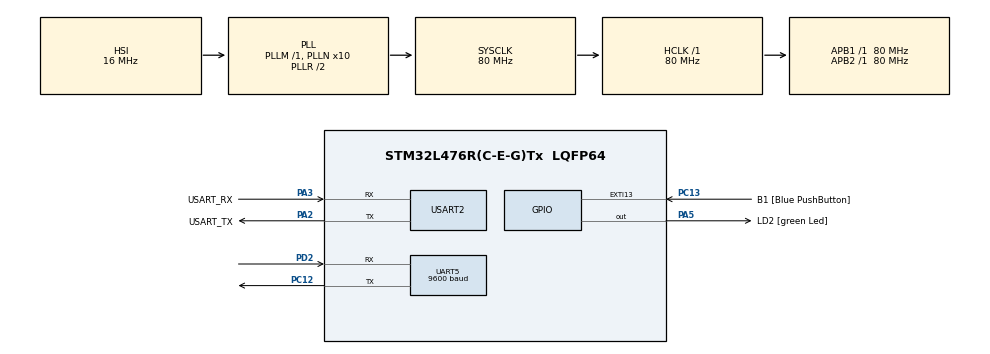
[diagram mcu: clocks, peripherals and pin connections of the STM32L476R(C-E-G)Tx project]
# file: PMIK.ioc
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Dma.Request0=UART5_RX
Dma.UART5_RX.0.Direction=DMA_PERIPH_TO_MEMORY
Dma.UART5_RX.0.Instance=DMA2_Channel2
Dma.UART5_RX.0.MemDataAlignment=DMA_MDATAALIGN_BYTE
Dma.UART5_RX.0.MemInc=DMA_MINC_ENABLE
Dma.UART5_RX.0.Mode=DMA_NORMAL
Dma.UART5_RX.0.PeriphDataAlignment=DMA_PDATAALIGN_BYTE
Dma.UART5_RX.0.PeriphInc=DMA_PINC_DISABLE
Dma.UART5_RX.0.Priority=DMA_PRIORITY_LOW
Mcu.Family=STM32L4
Mcu.Name=STM32L476R(C-E-G)Tx
Mcu.Package=LQFP64
NVIC.DMA2_Channel2_IRQn=true\:0\:0\:false\:false\:true\:false\:true\:true
NVIC.EXTI15_10_IRQn=true\:0\:0\:false\:false\:true\:true\:true\:true
NVIC.PriorityGroup=NVIC_PRIORITYGROUP_4
NVIC.TIM2_IRQn=true\:0\:0\:false\:false\:true\:true\:true\:true
NVIC.UART5_IRQn=true\:0\:0\:false\:false\:true\:true\:true\:true
NVIC.USART2_IRQn=true\:0\:0\:false\:false\:true\:true\:true\:true
PA13\ (JTMS-SWDIO).GPIO_Label=TMS
PA13\ (JTMS-SWDIO).Mode=Serial_Wire
PA13\ (JTMS-SWDIO).Signal=SYS_JTMS-SWDIO
PA14\ (JTCK-SWCLK).GPIO_Label=TCK
PA14\ (JTCK-SWCLK).Mode=Serial_Wire
PA14\ (JTCK-SWCLK).Signal=SYS_JTCK-SWCLK
PA2.GPIO_Label=USART_TX
PA2.GPIO_Mode=GPIO_MODE_AF_PP
PA2.GPIO_PuPd=GPIO_NOPULL
PA2.GPIO_Speed=GPIO_SPEED_FREQ_VERY_HIGH
PA2.Mode=Asynchronous
PA2.Signal=USART2_TX
PA3.GPIO_Label=USART_RX
PA3.GPIO_Mode=GPIO_MODE_AF_PP
PA3.GPIO_PuPd=GPIO_NOPULL
PA3.GPIO_Speed=GPIO_SPEED_FREQ_VERY_HIGH
PA3.Mode=Asynchronous
PA3.Signal=USART2_RX
PA5.GPIO_Label=LD2 [green Led]
PA5.GPIO_ModeDefaultOutputPP=GPIO_MODE_OUTPUT_PP
PA5.GPIO_PuPd=GPIO_NOPULL
PA5.GPIO_Speed=GPIO_SPEED_FREQ_LOW
PA5.Signal=GPIO_Output
PB3\ (JTDO-TRACESWO).GPIO_Label=SWO
PB3\ (JTDO-TRACESWO).Signal=SYS_JTDO-SWO
PC12.Mode=Asynchronous
PC12.Signal=UART5_TX
PC13.GPIO_Label=B1 [Blue PushButton]
PC13.GPIO_ModeDefaultEXTI=GPIO_MODE_IT_RISING
PC13.GPIO_PuPd=GPIO_NOPULL
PC13.Signal=GPXTI13
PC14-OSC32_IN\ (PC14).Mode=LSE-External-Oscillator
PC14-OSC32_IN\ (PC14).Signal=RCC_OSC32_IN
PC15-OSC32_OUT\ (PC15).Mode=LSE-External-Oscillator
PC15-OSC32_OUT\ (PC15).Signal=RCC_OSC32_OUT
PD2.Mode=Asynchronous
PD2.Signal=UART5_RX
PH0-OSC_IN\ (PH0).Signal=RCC_OSC_IN
PH1-OSC_OUT\ (PH1).Signal=RCC_OSC_OUT
ProjectManager.HeapSize=0x200
ProjectManager.StackSize=0x400
ProjectManager.TargetToolchain=STM32CubeIDE
RCC.ADCFreq_Value=64000000
RCC.AHBFreq_Value=80000000
RCC.APB1Freq_Value=80000000
RCC.APB1TimFreq_Value=80000000
RCC.APB2Freq_Value=80000000
RCC.APB2TimFreq_Value=80000000
RCC.CortexFreq_Value=80000000
RCC.HCLKFreq_Value=80000000
RCC.HSE_VALUE=8000000
RCC.HSI_VALUE=16000000
RCC.MSI_VALUE=4000000
RCC.PLLN=10
RCC.PLLSourceVirtual=RCC_PLLSOURCE_HSI
RCC.PREFETCH_ENABLE=1
RCC.SYSCLKFreq_VALUE=80000000
RCC.SYSCLKSource=RCC_SYSCLKSOURCE_PLLCLK
RCC.USBFreq_Value=64000000
RCC.VCOOutputFreq_Value=160000000
UART5.BaudRate=9600
UART5.WordLength=WORDLENGTH_8B
USART2.VirtualMode-Asynchronous=VM_ASYNC
VP_TIM2_VS_ClockSourceINT.Mode=Internal
board=NUCLEO-L476RG

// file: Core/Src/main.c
/* USER CODE BEGIN Header */
/**
Triangulacja pozycji modułu za pomocą protokołu ESP-NOW

Autor: Arkadiusz Rozmarynowicz
Data ukończenia: --.--.----
Data ostatniej aktualizacji: --.--.----

Wymagana konfiguracja sprzętu:
-Moduł STM32 podłączony do ESP32 poprzez interfejs UART.
-Cztery moduły ESP32 służące jako "latarnie morskie." Umieszczone
	w jednym pomieszczeniu, w odległości przynajmniej 1.5m od siebie oraz STM32.
-Wyświetlacz LCD podłączony do STM32 poprzez interfejs I2C

Opis:
Kod źródłowy służący do estymacji pozycji modułów STM32 oraz ESP32.
 	 STM32 wysyła zapytanie poprzez UART do ESP32. ESP32 wysyła serię zapytań
 	 do każdej latarni, zapamiętując czas wysłania każdego zapytania. Latarnie
 	 wysyłają informację zwrotną zawierającą ich pozycję względną, oraz czas
 	 przetworzenia zapytania. ESP32 uśrednia wyniki, oblicza dystans do każdej
 	 latarni, oraz przesyła te informacje z powrotem do STM. STM wykonuje algorytm
 	 triangulacji, estymując swoje położenie względem latarni. Wyświetla te informacje
 	 na wyświetlaczu LCD.

Implementacja:
-przerwanie z TIMER2 powoduje wysłanie zapytania
-przerwanie z TIMER3 powoduje aktualizacje informacji na LCD
-UART zapisuje informacje od ESP32 poprzez DMA, wywołując
	przerwanie powodujące aktualizację estymacji pozycji
**/
/* USER CODE END Header */
#include "main.h"

/* USER CODE BEGIN Includes */
#include "string.h"
/* USER CODE END Includes */

TIM_HandleTypeDef htim2;

UART_HandleTypeDef huart5;
UART_HandleTypeDef huart2;
DMA_HandleTypeDef hdma_uart5_rx;

/* USER CODE BEGIN PV */
int data_size = 2;
uint8_t Received[20];
uint8_t Received_2[20];
//uint8_t tx_at[] = {'A', 'T'};
//uint8_t tx_at[] = {'a', 't'};
uint8_t tx_at[2] = {'A', 'T'};

/* USER CODE END PV */

void SystemClock_Config(void);
static void MX_GPIO_Init(void);
static void MX_DMA_Init(void);
static void MX_USART2_UART_Init(void);
static void MX_UART5_Init(void);
static void MX_TIM2_Init(void);

int main(void)
{

  /* MCU Configuration--------------------------------------------------------*/

  /* Reset of all peripherals, Initializes the Flash interface and the Systick. */
  HAL_Init();

  /* Configure the system clock */
  SystemClock_Config();

  /* Initialize all configured peripherals */
  MX_GPIO_Init();
  MX_DMA_Init();
  MX_USART2_UART_Init();
  MX_UART5_Init();
  MX_TIM2_Init();
  /* USER CODE BEGIN 2 */
  HAL_NVIC_SetPriority(UART5_IRQn, 0, 0);
  HAL_NVIC_EnableIRQ(UART5_IRQn);
  HAL_UART_Transmit_DMA(&huart5, tx_at, sizeof(tx_at));
  HAL_UART_Receive_DMA(&huart5, Received, data_size);
  HAL_UART_Receive_IT(&huart2, Received_2, 5);
  /* USER CODE END 2 */

  /* Infinite loop */
  while (1)
  {

  }
}

void SystemClock_Config(void)
{
  RCC_OscInitTypeDef RCC_OscInitStruct = {0};
  RCC_ClkInitTypeDef RCC_ClkInitStruct = {0};

  /** Configure the main internal regulator output voltage
  */
  if (HAL_PWREx_ControlVoltageScaling(PWR_REGULATOR_VOLTAGE_SCALE1) != HAL_OK)
  {
    Error_Handler();
  }

  /** Initializes the RCC Oscillators according to the specified parameters
  * in the RCC_OscInitTypeDef structure.
  */
  RCC_OscInitStruct.OscillatorType = RCC_OSCILLATORTYPE_HSI;
  RCC_OscInitStruct.HSIState = RCC_HSI_ON;
  RCC_OscInitStruct.HSICalibrationValue = RCC_HSICALIBRATION_DEFAULT;
  RCC_OscInitStruct.PLL.PLLState = RCC_PLL_ON;
  RCC_OscInitStruct.PLL.PLLSource = RCC_PLLSOURCE_HSI;
  RCC_OscInitStruct.PLL.PLLM = 1;
  RCC_OscInitStruct.PLL.PLLN = 10;
  RCC_OscInitStruct.PLL.PLLP = RCC_PLLP_DIV7;
  RCC_OscInitStruct.PLL.PLLQ = RCC_PLLQ_DIV2;
  RCC_OscInitStruct.PLL.PLLR = RCC_PLLR_DIV2;
  if (HAL_RCC_OscConfig(&RCC_OscInitStruct) != HAL_OK)
  {
    Error_Handler();
  }

  /** Initializes the CPU, AHB and APB buses clocks
  */
  RCC_ClkInitStruct.ClockType = RCC_CLOCKTYPE_HCLK|RCC_CLOCKTYPE_SYSCLK
                              |RCC_CLOCKTYPE_PCLK1|RCC_CLOCKTYPE_PCLK2;
  RCC_ClkInitStruct.SYSCLKSource = RCC_SYSCLKSOURCE_PLLCLK;
  RCC_ClkInitStruct.AHBCLKDivider = RCC_SYSCLK_DIV1;
  RCC_ClkInitStruct.APB1CLKDivider = RCC_HCLK_DIV1;
  RCC_ClkInitStruct.APB2CLKDivider = RCC_HCLK_DIV1;

  if (HAL_RCC_ClockConfig(&RCC_ClkInitStruct, FLASH_LATENCY_4) != HAL_OK)
  {
    Error_Handler();
  }
}

static void MX_TIM2_Init(void)
{

  TIM_ClockConfigTypeDef sClockSourceConfig = {0};
  TIM_MasterConfigTypeDef sMasterConfig = {0};

  htim2.Instance = TIM2;
  htim2.Init.Prescaler = 0;
  htim2.Init.CounterMode = TIM_COUNTERMODE_UP;
  htim2.Init.Period = 4294967295;
  htim2.Init.ClockDivision = TIM_CLOCKDIVISION_DIV1;
  htim2.Init.AutoReloadPreload = TIM_AUTORELOAD_PRELOAD_DISABLE;
  if (HAL_TIM_Base_Init(&htim2) != HAL_OK)
  {
    Error_Handler();
  }
  sClockSourceConfig.ClockSource = TIM_CLOCKSOURCE_INTERNAL;
  if (HAL_TIM_ConfigClockSource(&htim2, &sClockSourceConfig) != HAL_OK)
  {
    Error_Handler();
  }
  sMasterConfig.MasterOutputTrigger = TIM_TRGO_RESET;
  sMasterConfig.MasterSlaveMode = TIM_MASTERSLAVEMODE_DISABLE;
  if (HAL_TIMEx_MasterConfigSynchronization(&htim2, &sMasterConfig) != HAL_OK)
  {
    Error_Handler();
  }

}

static void MX_UART5_Init(void)
{

  huart5.Instance = UART5;
  huart5.Init.BaudRate = 9600;
  huart5.Init.WordLength = UART_WORDLENGTH_8B;
  huart5.Init.StopBits = UART_STOPBITS_1;
  huart5.Init.Parity = UART_PARITY_NONE;
  huart5.Init.Mode = UART_MODE_TX_RX;
  huart5.Init.HwFlowCtl = UART_HWCONTROL_NONE;
  huart5.Init.OverSampling = UART_OVERSAMPLING_16;
  huart5.Init.OneBitSampling = UART_ONE_BIT_SAMPLE_DISABLE;
  huart5.AdvancedInit.AdvFeatureInit = UART_ADVFEATURE_NO_INIT;
  if (HAL_UART_Init(&huart5) != HAL_OK)
  {
    Error_Handler();
  }

}

static void MX_USART2_UART_Init(void)
{

  huart2.Instance = USART2;
  huart2.Init.BaudRate = 115200;
  huart2.Init.WordLength = UART_WORDLENGTH_8B;
  huart2.Init.StopBits = UART_STOPBITS_1;
  huart2.Init.Parity = UART_PARITY_NONE;
  huart2.Init.Mode = UART_MODE_TX_RX;
  huart2.Init.HwFlowCtl = UART_HWCONTROL_NONE;
  huart2.Init.OverSampling = UART_OVERSAMPLING_16;
  huart2.Init.OneBitSampling = UART_ONE_BIT_SAMPLE_DISABLE;
  huart2.AdvancedInit.AdvFeatureInit = UART_ADVFEATURE_NO_INIT;
  if (HAL_UART_Init(&huart2) != HAL_OK)
  {
    Error_Handler();
  }

}

static void MX_DMA_Init(void)
{

  /* DMA controller clock enable */
  __HAL_RCC_DMA2_CLK_ENABLE();

  /* DMA interrupt init */
  /* DMA2_Channel2_IRQn interrupt configuration */
  HAL_NVIC_SetPriority(DMA2_Channel2_IRQn, 0, 0);
  HAL_NVIC_EnableIRQ(DMA2_Channel2_IRQn);

}

static void MX_GPIO_Init(void)
{
  GPIO_InitTypeDef GPIO_InitStruct = {0};

  /* GPIO Ports Clock Enable */
  __HAL_RCC_GPIOC_CLK_ENABLE();
  __HAL_RCC_GPIOH_CLK_ENABLE();
  __HAL_RCC_GPIOA_CLK_ENABLE();
  __HAL_RCC_GPIOD_CLK_ENABLE();
  __HAL_RCC_GPIOB_CLK_ENABLE();

  /*Configure GPIO pin Output Level */
  HAL_GPIO_WritePin(LD2_GPIO_Port, LD2_Pin, GPIO_PIN_RESET);

  /*Configure GPIO pin : B1_Pin */
  GPIO_InitStruct.Pin = B1_Pin;
  GPIO_InitStruct.Mode = GPIO_MODE_IT_RISING;
  GPIO_InitStruct.Pull = GPIO_NOPULL;
  HAL_GPIO_Init(B1_GPIO_Port, &GPIO_InitStruct);

  /*Configure GPIO pin : LD2_Pin */
  GPIO_InitStruct.Pin = LD2_Pin;
  GPIO_InitStruct.Mode = GPIO_MODE_OUTPUT_PP;
  GPIO_InitStruct.Pull = GPIO_NOPULL;
  GPIO_InitStruct.Speed = GPIO_SPEED_FREQ_LOW;
  HAL_GPIO_Init(LD2_GPIO_Port, &GPIO_InitStruct);

  /* EXTI interrupt init*/
  HAL_NVIC_SetPriority(EXTI15_10_IRQn, 0, 0);
  HAL_NVIC_EnableIRQ(EXTI15_10_IRQn);

}

/* USER CODE BEGIN 4 */
void HAL_GPIO_EXTI_Callback(uint16_t GPIO_Pin){

//	HAL_UART_Abort(&huart5);
    HAL_UART_Transmit_IT(&huart5, tx_at, sizeof(tx_at));
    HAL_UART_Receive_IT(&huart5, Received, data_size);
	HAL_GPIO_TogglePin(GPIOA, GPIO_PIN_5);
}

//void HAL_UART_TxCpltCallback(UART_HandleTypeDef *huart) {
//	HAL_UART_Abort(&huart5);
//	HAL_UART_Receive_IT(&huart5, Received, data_size);
//	if (huart == &huart5){
//		int a = 0;
//	}
//	else if (huart == &huart2){
//		int a = 1;
//	}
//	else {
//		int a = 3;
//	}
//}

void HAL_UART_RxCpltCallback(UART_HandleTypeDef *huart) {
	if (huart == &huart2){
		HAL_UART_Transmit_IT(&huart2, tx_at, sizeof(tx_at));
		HAL_UART_Receive_IT(&huart2, Received_2, 5);
	}
	else if (huart == &huart5){
		uint16_t size = 0;
		uint8_t Data[40];
		size = sprintf(Data, "Odebrano %s \r\n", Received);
		HAL_UART_Abort_IT(&huart5);
		HAL_UART_Receive_IT(&huart5, Received, data_size);
//		HAL_UART_Receive_IT(&huart5, Received, data_size);
		HAL_UART_Transmit_IT(&huart2, Data, size);
	}
}
/* USER CODE END 4 */

void Error_Handler(void)
{
  __disable_irq();
  while (1)
  {
  }
}
